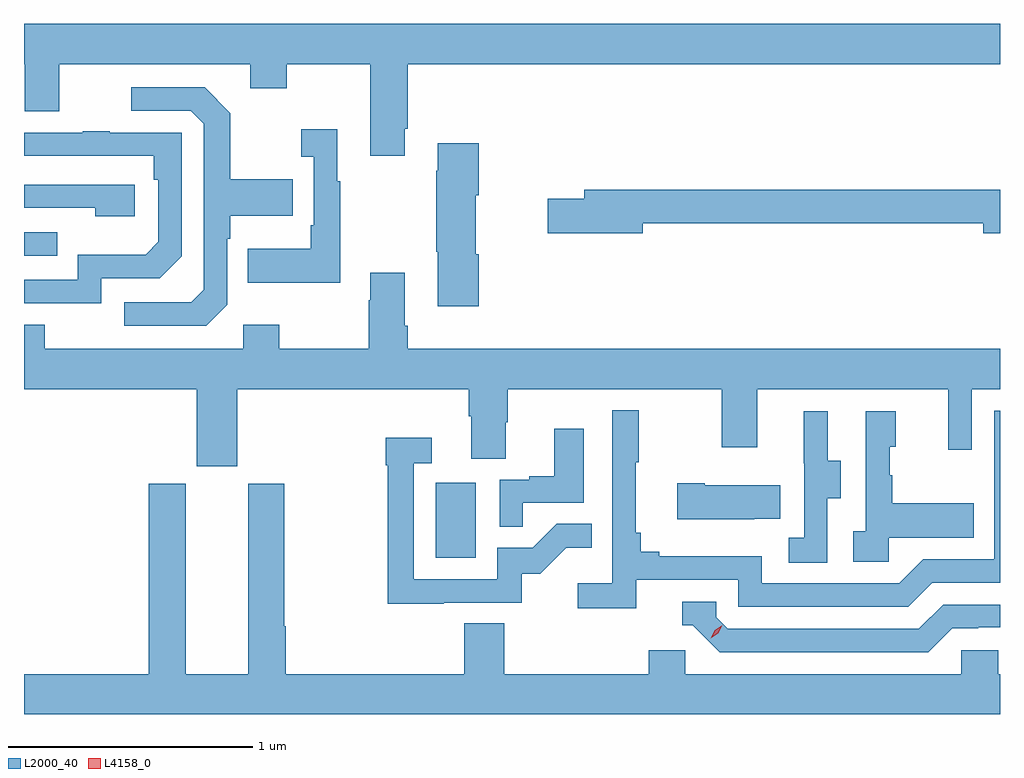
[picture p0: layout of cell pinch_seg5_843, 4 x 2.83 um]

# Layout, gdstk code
import gdstk
lib = gdstk.Library(unit=1e-6, precision=1e-09)
def R(c, l, rs):  # rectangles x0, y0, x1, y1
    for r in rs: c.add(gdstk.rectangle(r[:2], r[2:], *l))
def P(c, l, *ps):  # polygons
    for p in ps: c.add(gdstk.Polygon(p, *l))
L2000_40 = (2000, 40)
L4158_0 = (4158, 0)

pinch_seg5_843 = lib.new_cell('pinch_seg5_843')
R(pinch_seg5_843, L2000_40, [(820.22,888.036,820.384,888.343), (818.533,889.275,818.669,889.371)])
P(pinch_seg5_843, L2000_40, [(820.093,889.795),(820.106,889.795),(820.106,890.06),(822.533,890.06),(822.533,890.224),(818.533,890.224),(818.533,890.06),(818.537,890.06),(818.537,889.866),(818.677,889.866),(818.677,890.06),(819.461,890.06),(819.461,889.961),(819.609,889.961),(819.609,890.06),(819.953,890.06),(819.953,889.683),(820.093,889.683)],
  [(819.366,889.074),(819.366,889.343),(819.379,889.343),(819.379,889.439),(819.635,889.439),(819.635,889.587),(819.379,889.587),(819.379,889.859),(819.273,889.965),(818.973,889.965),(818.973,889.869),(819.216,889.869),(819.27,889.815),(819.27,889.134),(819.219,889.083),(818.943,889.083),(818.943,888.987),(819.279,888.987)],
  [(819.829,889.579),(819.817,889.579),(819.817,889.792),(819.669,889.792),(819.669,889.679),(819.72,889.679),(819.72,889.399),(819.708,889.399),(819.708,889.303),(819.451,889.303),(819.451,889.163),(819.829,889.163)],
  [(818.85,889.182),(819.09,889.182),(819.18,889.272),(819.18,889.779),(818.885,889.779),(818.885,889.784),(818.773,889.784),(818.773,889.779),(818.533,889.779),(818.533,889.683),(819.064,889.683),(819.064,889.586),(819.084,889.586),(819.084,889.332),(819.031,889.279),(818.754,889.279),(818.754,889.176),(818.533,889.176),(818.533,889.08),(818.85,889.08)],
  [(820.397,889.28),(820.384,889.28),(820.384,889.522),(820.397,889.522),(820.397,889.735),(820.229,889.735),(820.229,889.622),(820.222,889.622),(820.222,889.291),(820.229,889.291),(820.229,889.068),(820.397,889.068)],
  [(818.986,889.566),(818.533,889.566),(818.533,889.47),(818.825,889.47),(818.825,889.436),(818.986,889.436)],
  [(821.068,889.408),(822.464,889.408),(822.464,889.366),(822.533,889.366),(822.533,889.544),(820.829,889.544),(820.829,889.508),(820.68,889.508),(820.68,889.366),(821.068,889.366)],
  [(819.406,888.728),(820.355,888.728),(820.355,888.616),(820.367,888.616),(820.367,888.442),(820.507,888.442),(820.507,888.591),(820.515,888.591),(820.515,888.728),(821.392,888.728),(821.392,888.489),(821.539,888.489),(821.539,888.728),(822.32,888.728),(822.32,888.48),(822.417,888.48),(822.417,888.728),(822.533,888.728),(822.533,888.892),(820.106,888.892),(820.106,888.988),(820.093,888.988),(820.093,889.204),(819.953,889.204),(819.953,889.091),(819.946,889.091),(819.946,888.892),(819.579,888.892),(819.579,888.991),(819.432,888.991),(819.432,888.892),(818.619,888.892),(818.619,888.991),(818.533,888.991),(818.533,888.728),(819.242,888.728),(819.242,888.411),(819.406,888.411)],
  [(821.042,887.946),(821.46,887.946),(821.46,887.835),(822.157,887.835),(822.256,887.934),(822.533,887.934),(822.533,888.639),(822.51,888.639),(822.51,888.03),(822.219,888.03),(822.12,887.931),(821.556,887.931),(821.556,888.043),(821.137,888.043),(821.137,888.062),(821.06,888.062),(821.06,888.139),(821.041,888.139),(821.041,888.427),(821.053,888.427),(821.053,888.64),(820.944,888.64),(820.944,887.932),(820.803,887.932),(820.803,887.83),(821.042,887.83)],
  [(822.078,888.119),(822.425,888.119),(822.425,888.259),(822.091,888.259),(822.091,888.374),(822.081,888.374),(822.081,888.492),(822.106,888.492),(822.106,888.637),(821.982,888.637),(821.982,888.146),(821.931,888.146),(821.931,888.021),(822.078,888.021)],
  [(821.826,888.28),(821.881,888.28),(821.881,888.435),(821.827,888.435),(821.827,888.637),(821.729,888.637),(821.729,888.423),(821.73,888.423),(821.73,888.119),(821.667,888.119),(821.667,888.016),(821.826,888.016)],
  [(820.577,888.261),(820.828,888.261),(820.828,888.565),(820.706,888.565),(820.706,888.37),(820.603,888.37),(820.603,888.357),(820.482,888.357),(820.482,888.163),(820.577,888.163)],
  [(820.253,887.853),(820.572,887.853),(820.572,887.97),(820.648,887.97),(820.755,888.077),(820.859,888.077),(820.859,888.176),(820.716,888.176),(820.618,888.078),(820.473,888.078),(820.473,887.949),(820.131,887.949),(820.131,888.423),(820.204,888.423),(820.204,888.529),(820.015,888.529),(820.015,888.416),(820.023,888.416),(820.023,887.848),(820.253,887.848)],
  [(821.525,888.197),(821.633,888.197),(821.633,888.334),(821.323,888.334),(821.323,888.342),(821.211,888.342),(821.211,888.194),(821.525,888.194)],
  [(822.533,887.56),(822.525,887.56),(822.525,887.658),(822.375,887.658),(822.375,887.56),(821.244,887.56),(821.244,887.658),(821.093,887.658),(821.093,887.56),(820.502,887.56),(820.502,887.768),(820.337,887.768),(820.337,887.56),(819.605,887.56),(819.605,887.756),(819.6,887.756),(819.6,888.339),(819.452,888.339),(819.452,887.56),(819.196,887.56),(819.196,888.339),(819.044,888.339),(819.044,887.56),(818.533,887.56),(818.533,887.396),(822.533,887.396)],
  [(822.337,887.748),(822.444,887.748),(822.444,887.751),(822.533,887.751),(822.533,887.844),(822.3,887.844),(822.201,887.745),(821.418,887.745),(821.37,887.793),(821.37,887.856),(821.231,887.856),(821.231,887.76),(821.274,887.76),(821.385,887.649),(822.238,887.649)])
P(pinch_seg5_843, L4158_0, [(821.347,887.706),(821.347,887.706),(821.363,887.739),(821.394,887.759),(821.394,887.759),(821.394,887.759),(821.378,887.726),(821.348,887.706)])

lib.write_gds('pinch_seg5_843.gds')
